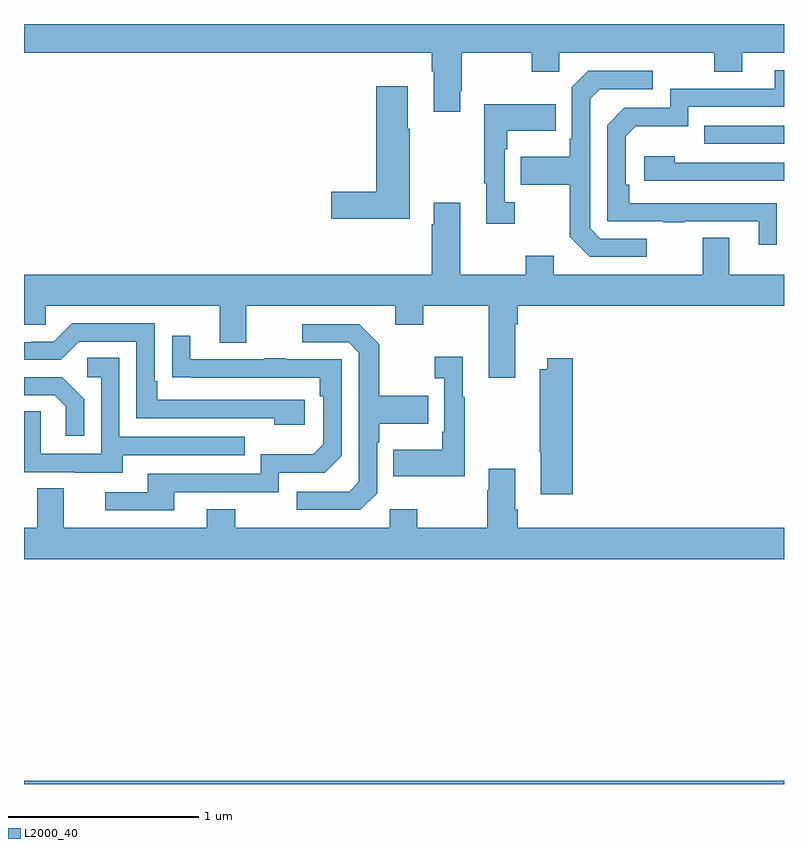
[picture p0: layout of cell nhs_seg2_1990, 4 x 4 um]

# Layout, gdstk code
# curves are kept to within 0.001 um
import gdstk
lib = gdstk.Library(unit=1e-6, precision=1e-09)
def R(c, l, rs):  # rectangles x0, y0, x1, y1
    for r in rs: c.add(gdstk.rectangle(r[:2], r[2:], *l))
def P(c, l, *ps):  # polygons
    for p in ps: c.add(gdstk.Polygon(p, *l))
L2000_40 = (2000, 40)

nhs_seg2_1990 = lib.new_cell('nhs_seg2_1990')
R(nhs_seg2_1990, L2000_40, [(215,631.8,219,631.816), (218.581,635.169,219,635.265)])
P(nhs_seg2_1990, L2000_40, [(217.297,635.449),(217.305,635.449),(217.305,635.648),(217.672,635.648),(217.672,635.549),(217.818,635.549),(217.818,635.648),(218.632,635.648),(218.632,635.549),(218.779,635.549),(218.779,635.648),(219,635.648),(219,635.8),(215,635.8),(215,635.648),(217.145,635.648),(217.145,635.552),(217.157,635.552),(217.157,635.337),(217.297,635.337)],
  [(218.963,634.856),(218.186,634.857),(218.186,634.954),(218.166,634.954),(218.166,635.208),(218.219,635.261),(218.496,635.261),(218.496,635.364),(219,635.364),(219,635.556),(218.951,635.556),(218.951,635.46),(218.4,635.46),(218.4,635.358),(218.16,635.358),(218.07,635.268),(218.07,634.761),(218.365,634.761),(218.365,634.756),(218.477,634.756),(218.477,634.761),(218.867,634.761),(218.867,634.638),(218.963,634.638)],
  [(218.278,634.671),(218.034,634.671),(217.98,634.725),(217.98,635.406),(218.031,635.457),(218.308,635.457),(218.308,635.553),(217.971,635.553),(217.884,635.466),(217.884,635.197),(217.872,635.197),(217.872,635.101),(217.615,635.101),(217.615,634.954),(217.872,634.954),(217.872,634.681),(217.977,634.575),(218.278,634.575)],
  [(217.029,635.249),(217.021,635.249),(217.021,635.473),(216.854,635.473),(216.854,634.916),(216.618,634.916),(216.618,634.774),(217.029,634.774)],
  [(217.582,634.862),(217.53,634.862),(217.53,635.141),(217.543,635.141),(217.543,635.237),(217.799,635.237),(217.799,635.377),(217.422,635.377),(217.422,634.961),(217.433,634.961),(217.433,634.749),(217.582,634.749)],
  [(219,635.07),(218.426,635.07),(218.426,635.104),(218.265,635.104),(218.265,634.974),(219,634.974)],
  [(217.585,634.22),(217.598,634.22),(217.598,634.316),(219,634.316),(219,634.48),(218.713,634.48),(218.713,634.675),(218.573,634.675),(218.573,634.48),(217.789,634.48),(217.789,634.579),(217.642,634.579),(217.642,634.48),(217.297,634.48),(217.297,634.858),(217.157,634.858),(217.157,634.745),(217.145,634.745),(217.145,634.48),(215,634.48),(215,634.218),(215.115,634.218),(215.115,634.316),(216.029,634.316),(216.029,634.122),(216.169,634.122),(216.169,634.316),(216.953,634.316),(216.953,634.217),(217.101,634.217),(217.101,634.316),(217.445,634.316),(217.445,633.939),(217.585,633.939)],
  [(216.478,633.822),(215.701,633.822),(215.701,633.919),(215.688,633.919),(215.688,634.224),(215.253,634.224),(215.157,634.128),(215.039,634.128),(215.039,634.125),(215,634.125),(215,634.032),(215.193,634.032),(215.289,634.128),(215.592,634.128),(215.592,633.726),(216.317,633.726),(216.317,633.692),(216.478,633.692)],
  [(216.858,633.33),(216.858,633.599),(216.871,633.599),(216.871,633.695),(217.127,633.695),(217.127,633.843),(216.871,633.843),(216.871,634.115),(216.765,634.221),(216.465,634.221),(216.465,634.125),(216.708,634.125),(216.762,634.071),(216.762,633.39),(216.711,633.339),(216.435,633.339),(216.435,633.243),(216.771,633.243)],
  [(215.791,633.336),(216.342,633.336),(216.342,633.438),(216.582,633.438),(216.672,633.528),(216.672,634.035),(216.377,634.035),(216.377,634.04),(216.265,634.04),(216.265,634.035),(215.875,634.035),(215.875,634.159),(215.779,634.159),(215.779,633.94),(216.556,633.939),(216.556,633.842),(216.576,633.842),(216.576,633.588),(216.523,633.535),(216.246,633.535),(216.246,633.432),(215.651,633.432),(215.651,633.336),(215.427,633.336),(215.427,633.24),(215.791,633.24)],
  [(217.321,633.835),(217.309,633.835),(217.309,634.048),(217.161,634.048),(217.161,633.935),(217.212,633.935),(217.212,633.655),(217.2,633.655),(217.2,633.559),(216.943,633.559),(216.943,633.419),(217.321,633.419)],
  [(215.521,633.531),(216.161,633.531),(216.161,633.627),(215.502,633.627),(215.502,634.043),(215.334,634.043),(215.334,633.942),(215.406,633.942),(215.406,633.537),(215.088,633.537),(215.088,633.761),(215,633.761),(215,633.441),(215.267,633.441),(215.267,633.437),(215.521,633.437)],
  [(217.889,634.042),(217.754,634.042),(217.754,633.982),(217.714,633.982),(217.714,633.547),(217.721,633.547),(217.721,633.324),(217.889,633.324)],
  [(215.316,633.826),(215.2,633.942),(215,633.942),(215,633.846),(215.162,633.846),(215.219,633.789),(215.219,633.633),(215.316,633.633)],
  [(219,633.148),(217.598,633.148),(217.598,633.244),(217.585,633.244),(217.585,633.46),(217.445,633.46),(217.445,633.347),(217.438,633.347),(217.438,633.148),(217.071,633.148),(217.071,633.247),(216.924,633.247),(216.924,633.148),(216.111,633.148),(216.111,633.247),(215.963,633.247),(215.963,633.148),(215.209,633.148),(215.209,633.356),(215.069,633.356),(215.069,633.148),(215,633.148),(215,632.984),(219,632.984)])

lib.write_gds('nhs_seg2_1990.gds')
